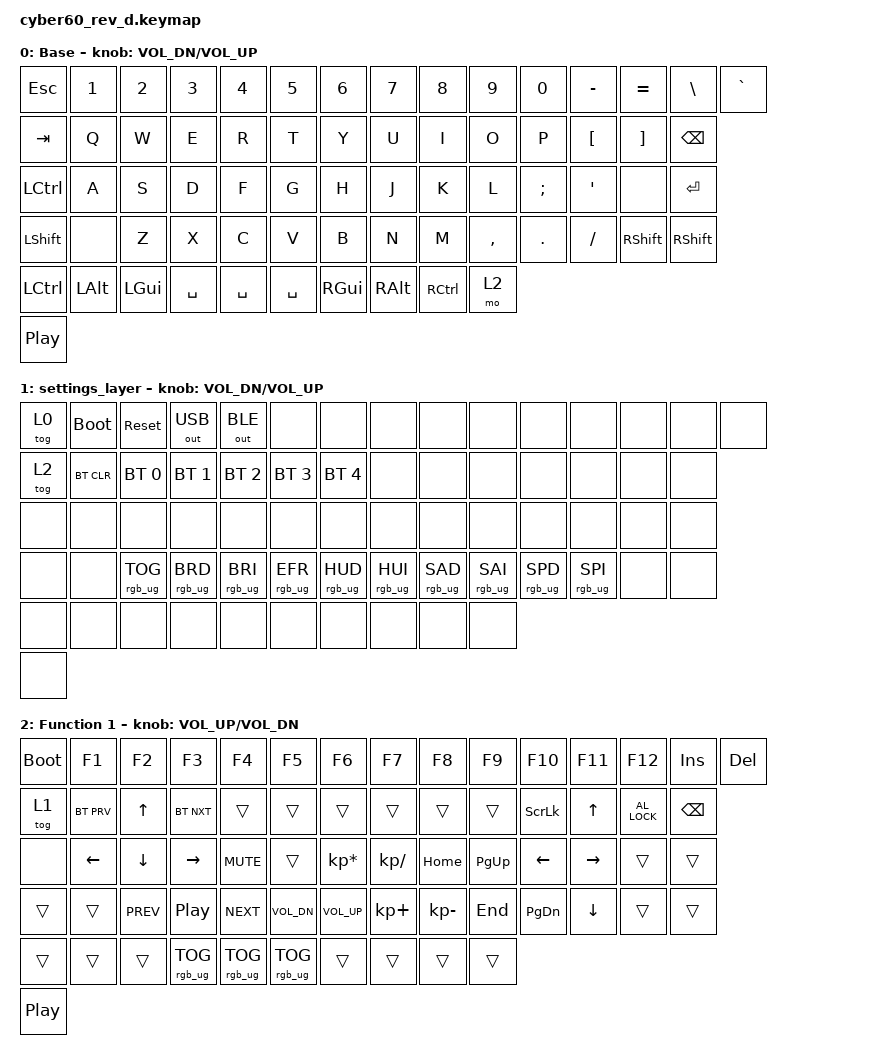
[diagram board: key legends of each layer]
#include <behaviors.dtsi>
#include <dt-bindings/zmk/bt.h>
#include <dt-bindings/zmk/keys.h>
#include <dt-bindings/zmk/outputs.h>
#include <dt-bindings/zmk/rgb.h>

#define FN1 1

/ {
    keymap {
        compatible = "zmk,keymap";

        base_layer {
            // Base layer with ctrl at backspace position
            // ------------------------------------------------------------------------------------------
            // | ESC |  1  |  2  |  3  |  4  |  5  |  6  |  7  |  8  |  9  |  0  |  -  |  =  |  \  |  ` |
            // |  TAB |  Q  |  W  |  E  |  R  |  T  |  Y  |  U  |  I  |  O  |  P  |  [  |  ]  |   bksp  |
            // | CAPS  |  A  |  S  |  D  |  F  |  G  |  H  |  J  |  K  |  L  |  ;  |  '  |none| ENTER   |
            // | SHIFT |none| Z |  X  |  C  |  V  |  B  |  N  |  M  |  ,  |  .  |  /  |    Shift   | FN |
            // |  LCTL  |  LALT  |  LWIN  | SPACE  | SPACE |    SPACE   |  RWIN | RALT  |   none  | FN    |
            // | Rotary | (<-- Rotary switch) ----------------------------------------------------------- 
            display-name = "Base";
            bindings = <
       &kp ESC  &kp NUMBER_1  &kp NUMBER_2  &kp NUMBER_3  &kp NUMBER_4  &kp NUMBER_5  &kp NUMBER_6  &kp NUMBER_7  &kp NUMBER_8  &kp NUMBER_9   &kp NUMBER_0         &kp MINUS        &kp EQUAL         &kp BSLH  &kp GRAVE
       &kp TAB         &kp Q         &kp W         &kp E         &kp R         &kp T         &kp Y         &kp U         &kp I         &kp O          &kp P          &kp LBKT         &kp RBKT    &kp BACKSPACE
     &kp LCTRL         &kp A         &kp S         &kp D         &kp F         &kp G         &kp H         &kp J         &kp K         &kp L  &kp SEMICOLON  &kp SINGLE_QUOTE            &none          &kp RET
&kp LEFT_SHIFT         &none         &kp Z         &kp X         &kp C         &kp V         &kp B         &kp N         &kp M     &kp COMMA        &kp DOT          &kp FSLH  &kp RIGHT_SHIFT  &kp RIGHT_SHIFT
     &kp LCTRL      &kp LALT      &kp LGUI     &kp SPACE     &kp SPACE     &kp SPACE      &kp RGUI      &kp RALT     &kp RCTRL         &mo 2
      &kp C_PP
            >;

            sensor-bindings = <&inc_dec_kp C_VOL_DN C_VOL_UP>;
        };

        settings_layer {
            // Settings layer to change keyboard behaviour
            // ------------------------------------------------------------------------------------------
            // | EXIT|BOOTL| RST | USB | BLE | NON | NON | NON | NON | NON | NON | NON | NON | NON |NON |
            // | NON  |BTCLR| BT0 | BT1 | BT2 | BT3 | BT4 | NON | NON | NON | NON | NON | NON |   NON   |
            // |  NON  | NON | NON | NON | NON | NON | NON | NON | NON | NON | NON | NON | NON |  NON   |
            // |  NON | NON|U_TG|U_BRD|U_BRI|U_EFR|U_HUD|U_HUI|U_SAD|U_SAI|U_SPD|U_SPI|    NON    | NON |
            // |   NON  |  NON   |  NON   |   NON  | NON |    NON       |  NON  |  NON  |  NON  |  NON  |
            // | Rotary | (<-- Rotary switch) ----------------------------------------------------------- 

            bindings = <
&tog 0  &bootloader       &sys_reset     &out OUT_USB     &out OUT_BLE            &none            &none            &none            &none            &none            &none            &none  &none  &none  &none
&tog 2   &bt BT_CLR     &bt BT_SEL 0     &bt BT_SEL 1     &bt BT_SEL 2     &bt BT_SEL 3     &bt BT_SEL 4            &none            &none            &none            &none            &none  &none  &none
 &none        &none            &none            &none            &none            &none            &none            &none            &none            &none            &none            &none  &none  &none
 &none        &none  &rgb_ug RGB_TOG  &rgb_ug RGB_BRD  &rgb_ug RGB_BRI  &rgb_ug RGB_EFR  &rgb_ug RGB_HUD  &rgb_ug RGB_HUI  &rgb_ug RGB_SAD  &rgb_ug RGB_SAI  &rgb_ug RGB_SPD  &rgb_ug RGB_SPI  &none  &none
 &none        &none            &none            &none            &none            &none            &none            &none            &none            &none
 &none
            >;

            sensor-bindings = <&inc_dec_kp C_VOL_DN C_VOL_UP>;
        };

        fn_layer_0 {
            display-name = "Function 1";
            // Function layer
            // ------------------------------------------------------------------------------------------
            // | BOOT |  F1 |  F2 |  F3 |  F4 |  F5 |  F6 |  F7 |  F8 |  F9 | F10 | F11 | F12 |INS | DEL|
            // | RST  |BTPRV|  UP |BTNXT| TOG0| TOG1| TOG2| BT3 | BT4 | PRNT| SLCKL | UP  | LOCK | BKSP |
            // | CAPS  |LEFT |DOWN |RIGHT|MUTE |  G  |  *  |  /  | HOME| PGUP| LEFT|RIGHT|none|  ENTER  |
            // | SHIFT |none|PRV|PLAYP|NEXT | VOLD| VOLU|  +  |  -  | END | PGDN| DOWN|    Shift   | FN |
            // |  LCTL  |  LGUI  |  LWIN  |  RALT  | FN |     SPACE     |  RALT |  RWIN | RMENU | RCTRL |
            // | Rotary | (<-- Rotary switch) ----------------------------------------------------------- 

            bindings = <
&bootloader      &kp F1      &kp F2           &kp F3           &kp F4           &kp F5           &kp F6        &kp F7        &kp F8     &kp F9    &kp F10    &kp F11        &kp F12        &kp INS  &kp DEL
     &tog 1  &bt BT_PRV      &kp UP       &bt BT_NXT           &trans           &trans           &trans        &trans        &trans     &trans   &kp SLCK     &kp UP  &kp C_AL_LOCK  &kp BACKSPACE
      &none    &kp LEFT    &kp DOWN        &kp RIGHT       &kp K_MUTE           &trans  &kp KP_ASTERISK  &kp KP_SLASH      &kp HOME  &kp PG_UP   &kp LEFT  &kp RIGHT         &trans         &trans
     &trans      &trans  &kp C_PREV         &kp C_PP       &kp C_NEXT     &kp C_VOL_DN     &kp C_VOL_UP   &kp KP_PLUS  &kp KP_MINUS    &kp END  &kp PG_DN   &kp DOWN         &trans         &trans
     &trans      &trans      &trans  &rgb_ug RGB_TOG  &rgb_ug RGB_TOG  &rgb_ug RGB_TOG           &trans        &trans        &trans     &trans
   &kp C_PP
            >;

            sensor-bindings = <&inc_dec_kp C_VOL_UP C_VOL_DN>;
        };
    };
};
